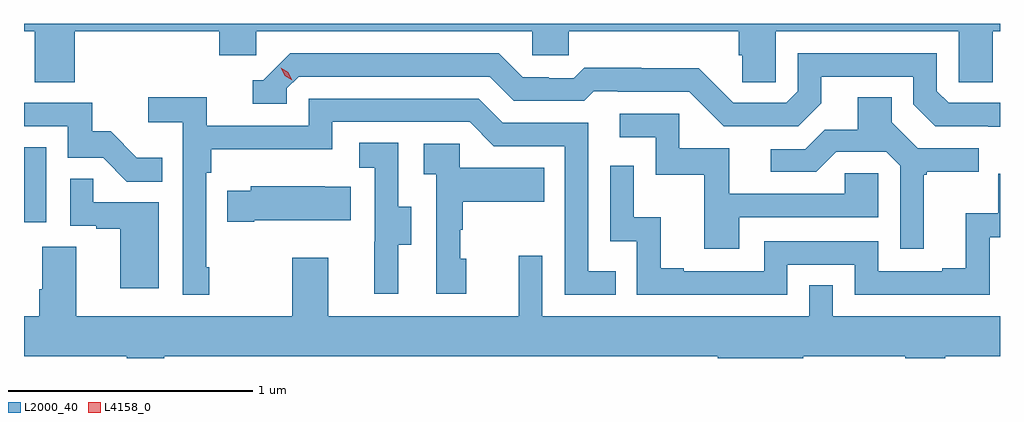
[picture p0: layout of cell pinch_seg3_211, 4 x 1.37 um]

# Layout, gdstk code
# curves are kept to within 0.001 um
import gdstk
lib = gdstk.Library(unit=1e-6, precision=1e-09)
def R(c, l, rs):  # rectangles x0, y0, x1, y1
    for r in rs: c.add(gdstk.rectangle(r[:2], r[2:], *l))
def P(c, l, *ps):  # polygons
    for p in ps: c.add(gdstk.Polygon(p, *l))
L2000_40 = (2000, 40)
L4158_0 = (4158, 0)

pinch_seg3_211 = lib.new_cell('pinch_seg3_211')
R(pinch_seg3_211, L2000_40, [(928.629,748.086,928.72,748.393)])
P(pinch_seg3_211, L2000_40, [(928.838,748.868),(929.429,748.868),(929.429,748.77),(929.58,748.77),(929.58,748.868),(930.711,748.868),(930.711,748.77),(930.861,748.77),(930.861,748.868),(931.559,748.868),(931.559,748.77),(931.573,748.77),(931.573,748.66),(931.71,748.66),(931.71,748.868),(932.46,748.868),(932.46,748.66),(932.599,748.66),(932.599,748.868),(932.629,748.868),(932.629,748.9),(928.629,748.9),(928.629,748.868),(928.673,748.868),(928.673,748.66),(928.838,748.66)],
  [(932.629,748.575),(932.418,748.575),(932.37,748.623),(932.37,748.779),(931.8,748.779),(931.8,748.623),(931.752,748.575),(931.536,748.575),(931.394,748.717),(931.158,748.717),(931.158,748.72),(930.925,748.72),(930.883,748.677),(930.78,748.677),(930.78,748.68),(930.673,748.68),(930.574,748.779),(929.721,748.779),(929.61,748.668),(929.567,748.668),(929.567,748.572),(929.706,748.572),(929.706,748.635),(929.754,748.683),(930.537,748.683),(930.636,748.584),(930.925,748.584),(930.964,748.623),(931.063,748.623),(931.063,748.62),(931.356,748.62),(931.497,748.479),(931.803,748.479),(931.897,748.573),(931.897,748.683),(932.274,748.683),(932.274,748.569),(932.364,748.479),(932.629,748.478)],
  [(932.317,748.281),(932.329,748.281),(932.329,748.292),(932.542,748.292),(932.542,748.389),(932.292,748.389),(932.185,748.496),(932.185,748.598),(932.045,748.598),(932.045,748.466),(931.91,748.466),(931.83,748.386),(931.689,748.386),(931.689,748.293),(931.876,748.293),(931.957,748.374),(932.163,748.374),(932.22,748.317),(932.22,747.978),(932.317,747.978)],
  [(929.389,747.901),(929.376,747.901),(929.376,748.289),(929.396,748.289),(929.396,748.385),(929.892,748.385),(929.892,748.497),(930.456,748.497),(930.555,748.398),(930.846,748.398),(930.846,747.789),(931.055,747.789),(931.055,747.885),(930.942,747.885),(930.942,748.494),(930.592,748.494),(930.493,748.593),(929.796,748.593),(929.796,748.482),(929.378,748.482),(929.378,748.598),(929.139,748.598),(929.139,748.496),(929.28,748.496),(929.28,747.789),(929.389,747.789)],
  [(929.195,748.351),(929.091,748.351),(928.984,748.458),(928.908,748.458),(928.908,748.575),(928.629,748.575),(928.629,748.479),(928.809,748.479),(928.809,748.35),(928.953,748.35),(929.051,748.252),(929.195,748.252)],
  [(931.561,748.107),(932.13,748.107),(932.13,748.287),(931.993,748.287),(931.993,748.203),(931.519,748.203),(931.519,748.389),(931.314,748.389),(931.314,748.53),(931.071,748.53),(931.071,748.434),(931.218,748.434),(931.218,748.281),(931.417,748.281),(931.417,747.978),(931.561,747.978)],
  [(930.163,747.994),(930.217,747.994),(930.217,748.149),(930.162,748.149),(930.162,748.412),(930.003,748.412),(930.003,748.309),(930.066,748.309),(930.066,748.005),(930.065,748.005),(930.065,747.792),(930.163,747.792)],
  [(930.442,747.936),(930.417,747.936),(930.417,748.055),(930.427,748.055),(930.427,748.169),(930.761,748.169),(930.761,748.309),(930.414,748.309),(930.414,748.407),(930.267,748.407),(930.267,748.283),(930.318,748.283),(930.318,747.792),(930.442,747.792)],
  [(931.758,747.912),(932.034,747.912),(932.034,747.789),(932.586,747.789),(932.586,748.025),(932.629,748.025),(932.629,748.284),(932.622,748.284),(932.622,748.123),(932.489,748.123),(932.489,747.898),(932.393,747.898),(932.393,747.885),(932.13,747.885),(932.13,748.008),(931.662,748.008),(931.662,747.885),(931.333,747.885),(931.333,747.898),(931.238,747.898),(931.238,748.106),(931.128,748.106),(931.128,748.318),(931.032,748.318),(931.032,748.008),(931.14,748.008),(931.14,747.789),(931.758,747.789)],
  [(929.182,748.167),(928.913,748.167),(928.913,748.265),(928.818,748.265),(928.818,748.071),(928.925,748.071),(928.925,748.059),(929.024,748.059),(929.024,747.816),(929.182,747.816)],
  [(929.572,748.094),(929.969,748.094),(929.969,748.231),(929.861,748.231),(929.861,748.234),(929.559,748.234),(929.559,748.216),(929.461,748.216),(929.461,748.087),(929.572,748.087)],
  [(929.204,747.536),(931.472,747.536),(931.472,747.528),(931.822,747.528),(931.822,747.536),(932.24,747.536),(932.24,747.528),(932.404,747.528),(932.404,747.536),(932.629,747.536),(932.629,747.7),(931.944,747.7),(931.944,747.827),(931.848,747.827),(931.848,747.7),(930.753,747.7),(930.753,747.949),(930.656,747.949),(930.656,747.7),(929.875,747.7),(929.875,747.94),(929.728,747.94),(929.728,747.7),(928.843,747.7),(928.843,747.986),(928.703,747.986),(928.703,747.812),(928.691,747.812),(928.691,747.7),(928.629,747.7),(928.629,747.536),(929.051,747.536),(929.051,747.528),(929.204,747.528)])
P(pinch_seg3_211, L4158_0, [(929.728,748.667),(929.697,748.687),(929.681,748.719),(929.681,748.719),(929.682,748.719),(929.712,748.7),(929.728,748.668),(929.728,748.667)])

lib.write_gds('pinch_seg3_211.gds')
